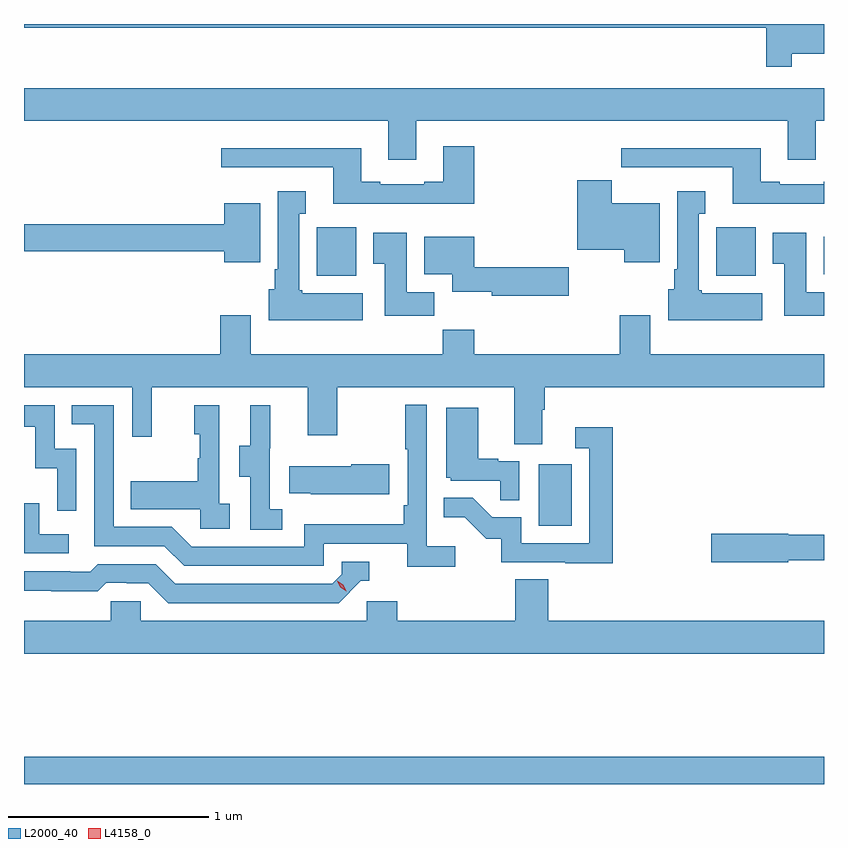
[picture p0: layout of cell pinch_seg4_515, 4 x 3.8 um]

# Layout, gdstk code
import gdstk
lib = gdstk.Library(unit=1e-6, precision=1e-09)
def R(c, l, rs):  # rectangles x0, y0, x1, y1
    for r in rs: c.add(gdstk.rectangle(r[:2], r[2:], *l))
def P(c, l, *ps):  # polygons
    for p in ps: c.add(gdstk.Polygon(p, *l))
L2000_40 = (2000, 40)
L4158_0 = (4158, 0)

pinch_seg4_515 = lib.new_cell('pinch_seg4_515')
R(pinch_seg4_515, L2000_40, [(972.866,750.88,976.866,751.016), (975.44,752.172,975.604,752.479), (974.33,753.422,974.527,753.664), (976.328,753.422,976.525,753.664), (976.865,753.428,976.866,753.616)])
P(pinch_seg4_515, L2000_40, [(976.705,754.532),(976.866,754.532),(976.866,754.68),(972.866,754.68),(972.866,754.662),(976.576,754.662),(976.576,754.467),(976.705,754.467)],
  [(974.827,754.196),(976.685,754.196),(976.685,754.002),(976.825,754.002),(976.825,754.196),(976.866,754.196),(976.866,754.36),(972.866,754.36),(972.866,754.196),(974.687,754.196),(974.687,754.002),(974.827,754.002)],
  [(975.116,754.069),(974.963,754.069),(974.963,753.892),(974.867,753.892),(974.867,753.879),(974.647,753.879),(974.647,753.892),(974.551,753.892),(974.551,754.06),(973.851,754.06),(973.851,753.963),(974.411,753.963),(974.411,753.782),(975.116,753.782)],
  [(976.866,753.892),(976.865,753.892),(976.865,753.879),(976.645,753.879),(976.645,753.892),(976.549,753.892),(976.549,754.06),(975.852,754.06),(975.852,753.965),(975.961,753.965),(975.961,753.963),(976.409,753.963),(976.409,753.782),(976.866,753.782)],
  [(976.045,753.784),(975.805,753.784),(975.805,753.9),(975.632,753.9),(975.632,753.551),(975.866,753.551),(975.866,753.488),(976.045,753.488)],
  [(974.56,753.334),(974.256,753.334),(974.256,753.348),(974.242,753.348),(974.242,753.731),(974.275,753.731),(974.275,753.844),(974.135,753.844),(974.135,753.454),(974.12,753.454),(974.12,753.354),(974.09,753.354),(974.09,753.2),(974.56,753.2)],
  [(976.558,753.334),(976.254,753.334),(976.254,753.348),(976.24,753.348),(976.24,753.731),(976.273,753.731),(976.273,753.844),(976.133,753.844),(976.133,753.454),(976.118,753.454),(976.118,753.354),(976.088,753.354),(976.088,753.2),(976.558,753.2)],
  [(974.047,753.784),(973.868,753.784),(973.868,753.68),(972.866,753.68),(972.866,753.544),(973.868,753.544),(973.868,753.488),(974.047,753.488)],
  [(974.918,753.34),(974.779,753.34),(974.779,753.637),(974.612,753.637),(974.612,753.481),(974.669,753.481),(974.669,753.222),(974.918,753.222)],
  [(976.866,753.34),(976.777,753.34),(976.777,753.637),(976.61,753.637),(976.61,753.481),(976.667,753.481),(976.667,753.222),(976.866,753.222)],
  [(975.589,753.464),(975.118,753.464),(975.118,753.616),(974.867,753.616),(974.867,753.428),(975.008,753.428),(975.008,753.341),(975.204,753.341),(975.204,753.322),(975.589,753.322)],
  [(975.457,752.752),(975.47,752.752),(975.47,752.864),(976.866,752.864),(976.866,753.028),(975.997,753.028),(975.997,753.223),(975.845,753.223),(975.845,753.028),(975.116,753.028),(975.116,753.152),(974.959,753.152),(974.959,753.028),(973.999,753.028),(973.999,753.223),(973.847,753.223),(973.847,753.028),(972.866,753.028),(972.866,752.864),(973.407,752.864),(973.407,752.616),(973.505,752.616),(973.505,752.864),(974.285,752.864),(974.285,752.625),(974.433,752.625),(974.433,752.864),(975.317,752.864),(975.317,752.578),(975.457,752.578)],
  [(975.022,752.068),(974.88,752.068),(974.88,752.776),(974.772,752.776),(974.772,752.554),(974.784,752.554),(974.784,752.275),(974.764,752.275),(974.764,752.179),(974.268,752.179),(974.268,752.067),(973.704,752.067),(973.605,752.166),(973.314,752.166),(973.314,752.775),(973.105,752.775),(973.105,752.679),(973.218,752.679),(973.218,752.07),(973.568,752.07),(973.667,751.971),(974.364,751.971),(974.364,752.082),(974.783,752.082),(974.783,751.966),(975.022,751.966)],
  [(973.128,752.556),(973.02,752.556),(973.02,752.775),(972.866,752.775),(972.866,752.667),(972.923,752.667),(972.923,752.459),(973.032,752.459),(973.032,752.247),(973.128,752.247)],
  [(974.158,752.255),(974.094,752.255),(974.094,752.559),(974.096,752.559),(974.096,752.773),(973.997,752.773),(973.997,752.571),(973.943,752.571),(973.943,752.416),(973.998,752.416),(973.998,752.152),(974.158,752.152)],
  [(973.894,752.282),(973.842,752.282),(973.842,752.773),(973.718,752.773),(973.718,752.628),(973.744,752.628),(973.744,752.51),(973.734,752.51),(973.734,752.395),(973.399,752.395),(973.399,752.255),(973.746,752.255),(973.746,752.157),(973.894,752.157)],
  [(975.342,752.493),(975.236,752.493),(975.236,752.506),(975.136,752.506),(975.136,752.761),(974.978,752.761),(974.978,752.412),(975,752.412),(975,752.397),(975.247,752.397),(975.247,752.299),(975.342,752.299)],
  [(975.809,752.665),(975.621,752.665),(975.621,752.559),(975.693,752.559),(975.693,752.085),(975.351,752.085),(975.351,752.214),(975.207,752.214),(975.109,752.312),(974.965,752.312),(974.965,752.213),(975.069,752.213),(975.176,752.106),(975.253,752.106),(975.253,751.989),(975.571,751.989),(975.571,751.984),(975.809,751.984)],
  [(974.692,752.478),(974.501,752.478),(974.501,752.47),(974.191,752.47),(974.191,752.333),(974.299,752.333),(974.299,752.33),(974.692,752.33)],
  [(973.09,752.13),(972.942,752.13),(972.942,752.284),(972.866,752.284),(972.866,752.034),(973.09,752.034)],
  [(976.686,751.998),(976.866,751.998),(976.866,752.126),(976.686,752.126),(976.686,752.132),(976.302,752.132),(976.302,751.99),(976.686,751.99)],
  [(974.55,751.896),(974.593,751.896),(974.593,751.992),(974.454,751.992),(974.454,751.929),(974.406,751.881),(973.623,751.881),(973.524,751.98),(973.235,751.98),(973.196,751.941),(973.097,751.941),(973.097,751.944),(972.866,751.944),(972.866,751.847),(973.002,751.847),(973.002,751.845),(973.235,751.845),(973.277,751.887),(973.38,751.887),(973.38,751.884),(973.487,751.884),(973.586,751.785),(974.439,751.785)],
  [(976.866,751.696),(975.488,751.696),(975.488,751.904),(975.323,751.904),(975.323,751.696),(974.732,751.696),(974.732,751.794),(974.58,751.794),(974.58,751.696),(973.449,751.696),(973.449,751.794),(973.299,751.794),(973.299,751.696),(972.866,751.696),(972.866,751.532),(976.866,751.532)])
P(pinch_seg4_515, L4158_0, [(974.477,751.843),(974.447,751.863),(974.431,751.896),(974.431,751.896),(974.431,751.896),(974.462,751.876),(974.477,751.843),(974.477,751.843)])

lib.write_gds('pinch_seg4_515.gds')
